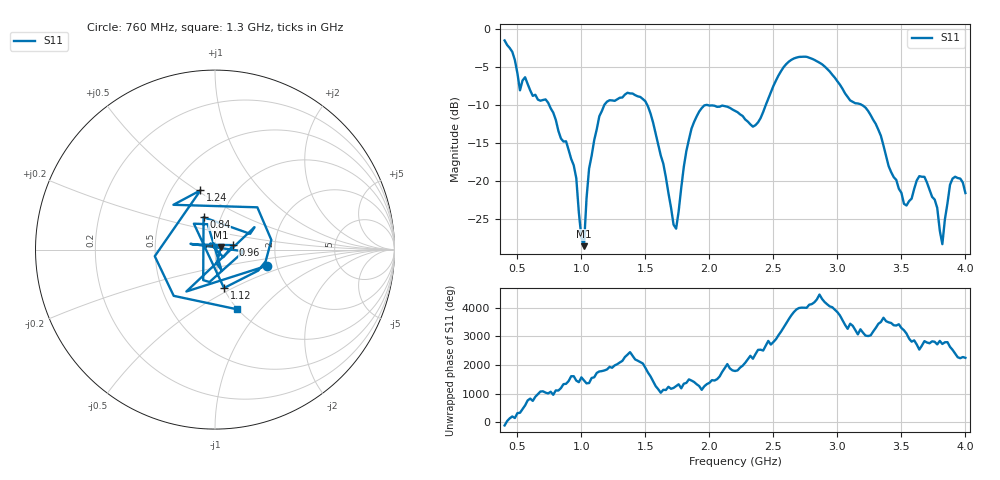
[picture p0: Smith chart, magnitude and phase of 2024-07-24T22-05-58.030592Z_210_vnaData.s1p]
!Created with skrf (http://scikit-rf.org).
# Hz S RI R 50.0
!freq ReS11 ImS11
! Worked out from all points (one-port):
!   181 points, 400 MHz to 4 GHz, reference 50 ohm
!   lowest |S11| = -28.5 dB at 1.02 GHz (marker M1), VSWR 1.08, Z = 53.6 + j1.48 ohm
!   |S11| at or under -10 dB: 1.515 GHz to 1.969 GHz (454.1 MHz wide, 26.1 % of centre); 1.988 GHz to 2.44 GHz (451.4 MHz wide, 20.4 % of centre); 3.194 GHz to end of sweep (the widest 3 of 4)
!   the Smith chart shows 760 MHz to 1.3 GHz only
!   S11 on the Smith chart (normalised r, x): 760 MHz: 1.76, -0.35; 840 MHz: 0.83, +0.31; 960 MHz: 1.22, +0.06; 1.12 GHz: 1.00, -0.45; 1.24 GHz: 0.69, +0.52; 1.3 GHz: 0.99, -0.75
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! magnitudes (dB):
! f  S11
! 400 MHz  -1.5
! 520 MHz  -8.1
! 760 MHz  -10.4
! 840 MHz  -14.4
! 860 MHz  -14.8
! 960 MHz  -19.6
! 1.02 GHz  -28.5
! 1.06 GHz  -18.3
! 1.12 GHz  -13.2
! 1.24 GHz  -9.4
! 1.3 GHz  -9.0
! 1.5 GHz  -9.5
! 1.64 GHz  -17.7
! 1.72 GHz  -25.7
! 1.76 GHz  -23.9
! 1.82 GHz  -16.0
! 1.92 GHz  -10.8
! 2.2 GHz  -10.7
! 2.36 GHz  -12.6
! 2.66 GHz  -3.9
! 3.1 GHz  -9.4
! 3.26 GHz  -11.3
! 3.56 GHz  -22.6
! 3.68 GHz  -19.4
! 3.78 GHz  -23.5
! 3.82 GHz  -28.3
! 3.9 GHz  -19.6
! 4 GHz  -21.5
